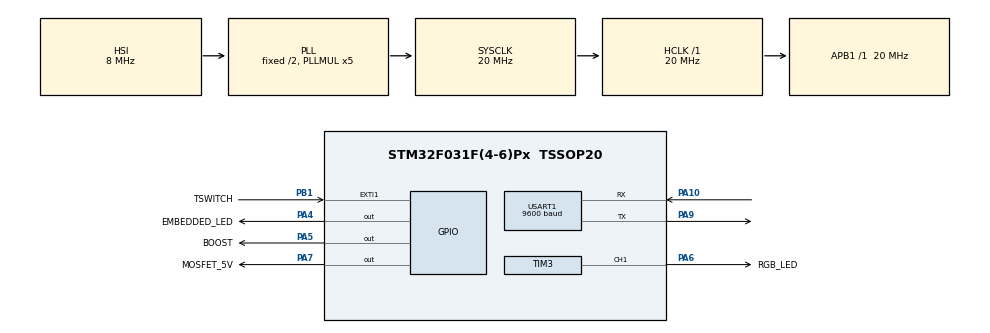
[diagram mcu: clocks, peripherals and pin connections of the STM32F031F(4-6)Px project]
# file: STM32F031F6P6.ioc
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Dma.Request0=TIM3_CH1/TRIG
Dma.TIM3_CH1/TRIG.0.Direction=DMA_MEMORY_TO_PERIPH
Dma.TIM3_CH1/TRIG.0.Instance=DMA1_Channel4
Dma.TIM3_CH1/TRIG.0.MemDataAlignment=DMA_MDATAALIGN_HALFWORD
Dma.TIM3_CH1/TRIG.0.MemInc=DMA_MINC_ENABLE
Dma.TIM3_CH1/TRIG.0.Mode=DMA_CIRCULAR
Dma.TIM3_CH1/TRIG.0.PeriphDataAlignment=DMA_PDATAALIGN_HALFWORD
Dma.TIM3_CH1/TRIG.0.PeriphInc=DMA_PINC_DISABLE
Dma.TIM3_CH1/TRIG.0.Priority=DMA_PRIORITY_LOW
Mcu.Family=STM32F0
Mcu.Name=STM32F031F(4-6)Px
Mcu.Package=TSSOP20
Mcu.UserConstants=LED_CNT,24
NVIC.DMA1_Channel4_5_IRQn=true\:0\:0\:false\:false\:true\:false\:true\:true
NVIC.EXTI0_1_IRQn=true\:0\:0\:false\:false\:true\:true\:true\:true
PA0.Mode=SYS_WakeUp0
PA0.Signal=SYS_WKUP1
PA10.Mode=Asynchronous
PA10.Signal=USART1_RX
PA13.Mode=Serial_Wire
PA13.Signal=SYS_SWDIO
PA14.Mode=Serial_Wire
PA14.Signal=SYS_SWCLK
PA4.GPIO_Label=EMBEDDED_LED
PA4.GPIO_ModeDefaultOutputPP=GPIO_MODE_OUTPUT_PP
PA4.GPIO_PuPd=GPIO_PULLUP
PA4.PinState=GPIO_PIN_SET
PA4.Signal=GPIO_Output
PA5.GPIO_Label=BOOST
PA5.GPIO_ModeDefaultOutputPP=GPIO_MODE_OUTPUT_PP
PA5.GPIO_PuPd=GPIO_PULLUP
PA5.Signal=GPIO_Output
PA6.GPIO_Label=RGB_LED
PA6.Signal=S_TIM3_CH1
PA7.GPIO_Label=MOSFET_5V
PA7.GPIO_PuPd=GPIO_PULLUP
PA7.PinState=GPIO_PIN_RESET
PA7.Signal=GPIO_Output
PA9.Mode=Asynchronous
PA9.Signal=USART1_TX
PB1.GPIO_Label=TSWITCH
PB1.GPIO_ModeDefaultEXTI=GPIO_MODE_IT_RISING_FALLING
PB1.GPIO_PuPd=GPIO_PULLDOWN
PB1.Signal=GPXTI1
ProjectManager.HeapSize=0x200
ProjectManager.StackSize=0x400
ProjectManager.TargetToolchain=STM32CubeIDE
RCC.AHBFreq_Value=20000000
RCC.APB1Freq_Value=20000000
RCC.APB1TimFreq_Value=20000000
RCC.HCLKFreq_Value=20000000
RCC.PLLMUL=RCC_PLL_MUL5
RCC.SYSCLKFreq_VALUE=20000000
RCC.SYSCLKSource=RCC_SYSCLKSOURCE_PLLCLK
SH.S_TIM3_CH1.0=TIM3_CH1,PWM Generation1 CH1
TIM3.Channel-PWM\ Generation1\ CH1=TIM_CHANNEL_1
TIM3.Period=LED_CNT
TIM3.TIM_MasterOutputTrigger=TIM_TRGO_UPDATE
USART1.BaudRate=9600
USART1.VirtualMode-Asynchronous=VM_ASYNC
VP_TIM3_VS_ClockSourceINT.Mode=Internal
board=custom

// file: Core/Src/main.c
/* USER CODE BEGIN Header */
/**
  ******************************************************************************
  * @file           : main.c
  * @brief          : Main program body
  ******************************************************************************
  * @attention
  *
  * Copyright (c) 2026 STMicroelectronics.
  * All rights reserved.
  *
  * This software is licensed under terms that can be found in the LICENSE file
  * in the root directory of this software component.
  * If no LICENSE file comes with this software, it is provided AS-IS.
  *
  ******************************************************************************
  */
/* USER CODE END Header */
#include "main.h"

/* USER CODE BEGIN Includes */
#include "ws2812.h"
#include "ws2812_demos.h"
/* USER CODE END Includes */

TIM_HandleTypeDef htim3;
DMA_HandleTypeDef hdma_tim3_ch1_trig;

UART_HandleTypeDef huart1;

/* USER CODE BEGIN PV */
ws2812_handleTypeDef ws2812; // The WS2812 panel handler
/* USER CODE END PV */

void SystemClock_Config(void);
static void MX_GPIO_Init(void);
static void MX_DMA_Init(void);
static void MX_TIM3_Init(void);
static void MX_USART1_UART_Init(void);

/* USER CODE BEGIN 0 */

int _write(int fd, char *ptr, int len) {
    HAL_StatusTypeDef hstatus;

    if (fd == 1 || fd == 2) {
        hstatus = HAL_UART_Transmit(&huart1, (uint8_t*) ptr, len, HAL_MAX_DELAY);
        if (hstatus == HAL_OK)
            return len;
        else
            return -1;
    }
    return -1;
}

// Done sending first half of the DMA buffer - this can now safely be updated
void HAL_TIM_PWM_PulseFinishedHalfCpltCallback(TIM_HandleTypeDef *htim) {

    if (htim->Instance == TIM3) {
        ws2812_update_buffer(&ws2812, &ws2812.dma_buffer[0]);
    }

}

// Done sending the second half of the DMA buffer - this can now be safely updated
void HAL_TIM_PWM_PulseFinishedCallback(TIM_HandleTypeDef *htim) {

    if (htim->Instance == TIM3) {
        ws2812_update_buffer(&ws2812, &ws2812.dma_buffer[BUFFER_SIZE]);
    }

}
volatile uint8_t mode = 3;
/* USER CODE END 0 */

int main(void)
{

  /* MCU Configuration--------------------------------------------------------*/

  /* Reset of all peripherals, Initializes the Flash interface and the Systick. */
  HAL_Init();

  /* Configure the system clock */
  SystemClock_Config();

  /* Initialize all configured peripherals */
  MX_GPIO_Init();
  MX_DMA_Init();
  MX_TIM3_Init();
  MX_USART1_UART_Init();
  /* USER CODE BEGIN 2 */

//  printf("WS2812 Demo\n");

  ws2812_init(&ws2812, &htim3, TIM_CHANNEL_1, 8);
  zeroLedValues(&ws2812);
  ws2812_demos_set(&ws2812, 1);

  /* USER CODE END 2 */

  /* Infinite loop */
  /* USER CODE BEGIN WHILE */
  uint32_t now = 0, next_tick = 1000, loop_count = 0, next_ping = 0;
    while (1)
  {

	  if(mode == 1) {
//		  HAL_GPIO_WritePin(EMBEDDED_LED_GPIO_Port, EMBEDDED_LED_Pin, GPIO_PIN_RESET);
		  HAL_GPIO_WritePin(MOSFET_5V_GPIO_Port, MOSFET_5V_Pin, GPIO_PIN_RESET);

		  HAL_GPIO_WritePin(BOOST_GPIO_Port, BOOST_Pin, GPIO_PIN_RESET);
		  HAL_Delay(333);
		  HAL_GPIO_WritePin(BOOST_GPIO_Port, BOOST_Pin, GPIO_PIN_SET);
		  mode = 4;
    	  next_ping = uwTick + 20000;
    	  ws2812_demos_tick(&ws2812, 1);
//		  printf("Set mode to 4 active\n");

	  } else if (mode == 0) {
//		  HAL_GPIO_WritePin(EMBEDDED_LED_GPIO_Port, EMBEDDED_LED_Pin, GPIO_PIN_SET);
		  HAL_GPIO_WritePin(MOSFET_5V_GPIO_Port, MOSFET_5V_Pin, GPIO_PIN_SET);

		  HAL_GPIO_WritePin(BOOST_GPIO_Port, BOOST_Pin, GPIO_PIN_RESET);
		  HAL_Delay(200);
		  HAL_GPIO_WritePin(BOOST_GPIO_Port, BOOST_Pin, GPIO_PIN_SET);
		  HAL_Delay(50);
		  HAL_GPIO_WritePin(BOOST_GPIO_Port, BOOST_Pin, GPIO_PIN_RESET);
		  HAL_Delay(200);
		  HAL_GPIO_WritePin(BOOST_GPIO_Port, BOOST_Pin, GPIO_PIN_SET);
		  mode = 3;

//		  printf("Set mode to 3 inactive\n");
//		  printf("sleep\n");
		  HAL_Delay(200);
		  HAL_SuspendTick();
		  HAL_PWR_EnterSTOPMode(PWR_LOWPOWERREGULATOR_ON, PWR_SLEEPENTRY_WFI);
		  HAL_ResumeTick();
		  SystemClock_Config();
	  } else if ( mode == 4 ){
	      if (uwTick >= next_ping) {
			  HAL_GPIO_WritePin(BOOST_GPIO_Port, BOOST_Pin, GPIO_PIN_RESET);
			  HAL_Delay(200);
			  HAL_GPIO_WritePin(BOOST_GPIO_Port, BOOST_Pin, GPIO_PIN_SET);
//			  printf("ping\n");
	    	  next_ping = uwTick + 20000;
	      }
	      now = uwTick;

	      if (!(now % 10)) { // Just call every 10th loop
	          ws2812_demos_tick(&ws2812, 0);
	      }

	      if (now >= next_tick) {
//	          printf("Tick %lu (count = %lu dma = %lu dat = %lu)\n", now / 1000, loop_count, ws2812.dma_cbs, ws2812.dat_cbs);
	          loop_count = 0;
	          next_tick = now + 1000;
	      }

	      ++loop_count;

	  }

    /* USER CODE END WHILE */

  }
}

void SystemClock_Config(void)
{
  RCC_OscInitTypeDef RCC_OscInitStruct = {0};
  RCC_ClkInitTypeDef RCC_ClkInitStruct = {0};
  RCC_PeriphCLKInitTypeDef PeriphClkInit = {0};

  /** Initializes the RCC Oscillators according to the specified parameters
  * in the RCC_OscInitTypeDef structure.
  */
  RCC_OscInitStruct.OscillatorType = RCC_OSCILLATORTYPE_HSI;
  RCC_OscInitStruct.HSIState = RCC_HSI_ON;
  RCC_OscInitStruct.HSICalibrationValue = RCC_HSICALIBRATION_DEFAULT;
  RCC_OscInitStruct.PLL.PLLState = RCC_PLL_ON;
  RCC_OscInitStruct.PLL.PLLSource = RCC_PLLSOURCE_HSI;
  RCC_OscInitStruct.PLL.PLLMUL = RCC_PLL_MUL5;
  RCC_OscInitStruct.PLL.PREDIV = RCC_PREDIV_DIV1;
  if (HAL_RCC_OscConfig(&RCC_OscInitStruct) != HAL_OK)
  {
    Error_Handler();
  }

  /** Initializes the CPU, AHB and APB buses clocks
  */
  RCC_ClkInitStruct.ClockType = RCC_CLOCKTYPE_HCLK|RCC_CLOCKTYPE_SYSCLK
                              |RCC_CLOCKTYPE_PCLK1;
  RCC_ClkInitStruct.SYSCLKSource = RCC_SYSCLKSOURCE_PLLCLK;
  RCC_ClkInitStruct.AHBCLKDivider = RCC_SYSCLK_DIV1;
  RCC_ClkInitStruct.APB1CLKDivider = RCC_HCLK_DIV1;

  if (HAL_RCC_ClockConfig(&RCC_ClkInitStruct, FLASH_LATENCY_0) != HAL_OK)
  {
    Error_Handler();
  }
  PeriphClkInit.PeriphClockSelection = RCC_PERIPHCLK_USART1;
  PeriphClkInit.Usart1ClockSelection = RCC_USART1CLKSOURCE_PCLK1;
  if (HAL_RCCEx_PeriphCLKConfig(&PeriphClkInit) != HAL_OK)
  {
    Error_Handler();
  }
}

static void MX_TIM3_Init(void)
{

  TIM_ClockConfigTypeDef sClockSourceConfig = {0};
  TIM_MasterConfigTypeDef sMasterConfig = {0};
  TIM_OC_InitTypeDef sConfigOC = {0};

  htim3.Instance = TIM3;
  htim3.Init.Prescaler = 0;
  htim3.Init.CounterMode = TIM_COUNTERMODE_UP;
  htim3.Init.Period = LED_CNT;
  htim3.Init.ClockDivision = TIM_CLOCKDIVISION_DIV1;
  htim3.Init.AutoReloadPreload = TIM_AUTORELOAD_PRELOAD_DISABLE;
  if (HAL_TIM_Base_Init(&htim3) != HAL_OK)
  {
    Error_Handler();
  }
  sClockSourceConfig.ClockSource = TIM_CLOCKSOURCE_INTERNAL;
  if (HAL_TIM_ConfigClockSource(&htim3, &sClockSourceConfig) != HAL_OK)
  {
    Error_Handler();
  }
  if (HAL_TIM_PWM_Init(&htim3) != HAL_OK)
  {
    Error_Handler();
  }
  sMasterConfig.MasterOutputTrigger = TIM_TRGO_UPDATE;
  sMasterConfig.MasterSlaveMode = TIM_MASTERSLAVEMODE_DISABLE;
  if (HAL_TIMEx_MasterConfigSynchronization(&htim3, &sMasterConfig) != HAL_OK)
  {
    Error_Handler();
  }
  sConfigOC.OCMode = TIM_OCMODE_PWM1;
  sConfigOC.Pulse = 0;
  sConfigOC.OCPolarity = TIM_OCPOLARITY_HIGH;
  sConfigOC.OCFastMode = TIM_OCFAST_DISABLE;
  if (HAL_TIM_PWM_ConfigChannel(&htim3, &sConfigOC, TIM_CHANNEL_1) != HAL_OK)
  {
    Error_Handler();
  }
  HAL_TIM_MspPostInit(&htim3);

}

static void MX_USART1_UART_Init(void)
{

  huart1.Instance = USART1;
  huart1.Init.BaudRate = 9600;
  huart1.Init.WordLength = UART_WORDLENGTH_8B;
  huart1.Init.StopBits = UART_STOPBITS_1;
  huart1.Init.Parity = UART_PARITY_NONE;
  huart1.Init.Mode = UART_MODE_TX_RX;
  huart1.Init.HwFlowCtl = UART_HWCONTROL_NONE;
  huart1.Init.OverSampling = UART_OVERSAMPLING_16;
  huart1.Init.OneBitSampling = UART_ONE_BIT_SAMPLE_DISABLE;
  huart1.AdvancedInit.AdvFeatureInit = UART_ADVFEATURE_NO_INIT;
  if (HAL_UART_Init(&huart1) != HAL_OK)
  {
    Error_Handler();
  }

}

static void MX_DMA_Init(void)
{

  /* DMA controller clock enable */
  __HAL_RCC_DMA1_CLK_ENABLE();

  /* DMA interrupt init */
  /* DMA1_Channel4_5_IRQn interrupt configuration */
  HAL_NVIC_SetPriority(DMA1_Channel4_5_IRQn, 0, 0);
  HAL_NVIC_EnableIRQ(DMA1_Channel4_5_IRQn);

}

static void MX_GPIO_Init(void)
{
  GPIO_InitTypeDef GPIO_InitStruct = {0};

  /* GPIO Ports Clock Enable */
  __HAL_RCC_GPIOA_CLK_ENABLE();
  __HAL_RCC_GPIOB_CLK_ENABLE();

  /*Configure GPIO pin Output Level */
  HAL_GPIO_WritePin(EMBEDDED_LED_GPIO_Port, EMBEDDED_LED_Pin, GPIO_PIN_SET);

  /*Configure GPIO pin Output Level */
  HAL_GPIO_WritePin(GPIOA, BOOST_Pin|MOSFET_5V_Pin, GPIO_PIN_RESET);

  /*Configure GPIO pins : EMBEDDED_LED_Pin BOOST_Pin MOSFET_5V_Pin */
  GPIO_InitStruct.Pin = EMBEDDED_LED_Pin|BOOST_Pin|MOSFET_5V_Pin;
  GPIO_InitStruct.Mode = GPIO_MODE_OUTPUT_PP;
  GPIO_InitStruct.Pull = GPIO_PULLUP;
  GPIO_InitStruct.Speed = GPIO_SPEED_FREQ_LOW;
  HAL_GPIO_Init(GPIOA, &GPIO_InitStruct);

  /*Configure GPIO pin : TSWITCH_Pin */
  GPIO_InitStruct.Pin = TSWITCH_Pin;
  GPIO_InitStruct.Mode = GPIO_MODE_IT_RISING_FALLING;
  GPIO_InitStruct.Pull = GPIO_PULLDOWN;
  HAL_GPIO_Init(TSWITCH_GPIO_Port, &GPIO_InitStruct);

  /* EXTI interrupt init*/
  HAL_NVIC_SetPriority(EXTI0_1_IRQn, 0, 0);
  HAL_NVIC_EnableIRQ(EXTI0_1_IRQn);

}

/* USER CODE BEGIN 4 */
void HAL_GPIO_EXTI_Callback(uint16_t GPIO_Pin)
{

    if (GPIO_Pin == TSWITCH_Pin) {
        if (HAL_GPIO_ReadPin(TSWITCH_GPIO_Port, TSWITCH_Pin) == GPIO_PIN_SET) {
        	if( mode == 4 ){
        		mode = 0;
//        		printf("Set mode to 0 deactivate\n");
        	} else if (mode ==3) {
        		mode = 1;
//        		printf("Set mode to 1 activate\n");
        		HAL_ResumeTick();
        		SystemClock_Config();
//        		printf("Set mode to 1 activate\n");
        	}
        }

    }
}

/* USER CODE END 4 */

void Error_Handler(void)
{
  __disable_irq();
  while (1)
  {
  }
}
